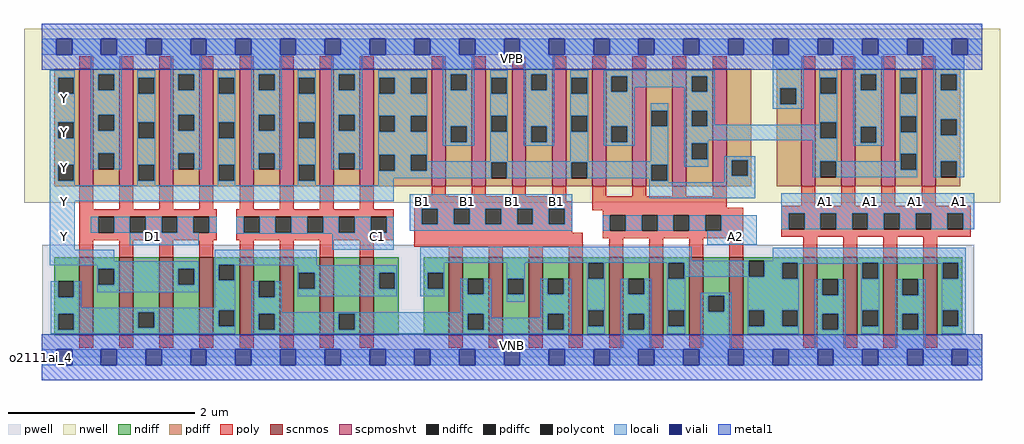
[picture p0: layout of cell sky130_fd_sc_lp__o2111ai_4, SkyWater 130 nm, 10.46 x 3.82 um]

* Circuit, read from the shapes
.subckt sky130_fd_sc_lp__o2111ai_4 A1 A2 B1 C1 D1 VGND VNB VPB VPWR Y
XM1 Y D1 n1 VNB sky130_fd_pr__nfet_01v8 w=0.84 l=0.15 m=4
XM2 n2 C1 n1 VNB sky130_fd_pr__nfet_01v8 w=0.84 l=0.15 m=4
XM3 n2 B1 n3 VNB sky130_fd_pr__nfet_01v8 w=0.84 l=0.15 m=4
XM4 VGND A2 n3 VNB sky130_fd_pr__nfet_01v8 w=0.84 l=0.15 m=4
XM5 VGND A1 n3 VNB sky130_fd_pr__nfet_01v8 w=0.84 l=0.15 m=4
XM6 VPWR D1 Y VPB sky130_fd_pr__pfet_01v8_hvt w=1.26 l=0.15 m=4
XM7 VPWR C1 Y VPB sky130_fd_pr__pfet_01v8_hvt w=1.26 l=0.15 m=4
XM8 VPWR B1 Y VPB sky130_fd_pr__pfet_01v8_hvt w=1.26 l=0.15 m=4
XM9 n4 A2 Y VPB sky130_fd_pr__pfet_01v8_hvt w=1.26 l=0.15 m=4
XM10 n4 A1 VPWR VPB sky130_fd_pr__pfet_01v8_hvt w=1.26 l=0.15 m=4
.ends

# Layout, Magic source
magic
tech sky130A
magscale 1 2
<< nwell >>
rect -38 331 2054 704
<< pwell >>
rect 1 49 1999 241
rect 0 0 2016 49
<< scnmos >>
rect 80 47 110 215
rect 166 47 196 215
rect 252 47 282 215
rect 338 47 368 215
rect 424 47 454 215
rect 510 47 540 215
rect 596 47 626 215
rect 682 47 712 215
rect 872 47 902 215
rect 958 47 988 215
rect 1044 47 1074 215
rect 1130 47 1160 215
rect 1216 47 1246 215
rect 1302 47 1332 215
rect 1388 47 1418 215
rect 1474 47 1504 215
rect 1632 47 1662 215
rect 1718 47 1748 215
rect 1804 47 1834 215
rect 1890 47 1920 215
<< scpmoshvt >>
rect 80 367 110 619
rect 166 367 196 619
rect 252 367 282 619
rect 338 367 368 619
rect 424 367 454 619
rect 510 367 540 619
rect 596 367 626 619
rect 682 367 712 619
rect 836 367 866 619
rect 922 367 952 619
rect 1008 367 1038 619
rect 1094 367 1124 619
rect 1180 367 1210 619
rect 1266 367 1296 619
rect 1352 367 1382 619
rect 1438 367 1468 619
rect 1628 367 1658 619
rect 1714 367 1744 619
rect 1800 367 1830 619
rect 1886 367 1916 619
<< ndiff >>
rect 27 163 80 215
rect 27 129 35 163
rect 69 129 80 163
rect 27 93 80 129
rect 27 59 35 93
rect 69 59 80 93
rect 27 47 80 59
rect 110 190 166 215
rect 110 156 121 190
rect 155 156 166 190
rect 110 47 166 156
rect 196 97 252 215
rect 196 63 207 97
rect 241 63 252 97
rect 196 47 252 63
rect 282 190 338 215
rect 282 156 293 190
rect 327 156 338 190
rect 282 47 338 156
rect 368 199 424 215
rect 368 165 379 199
rect 413 165 424 199
rect 368 101 424 165
rect 368 67 379 101
rect 413 67 424 101
rect 368 47 424 67
rect 454 163 510 215
rect 454 129 465 163
rect 499 129 510 163
rect 454 93 510 129
rect 454 59 465 93
rect 499 59 510 93
rect 454 47 510 59
rect 540 181 596 215
rect 540 147 551 181
rect 585 147 596 181
rect 540 47 596 147
rect 626 93 682 215
rect 626 59 637 93
rect 671 59 682 93
rect 626 47 682 59
rect 712 181 765 215
rect 712 147 723 181
rect 757 147 765 181
rect 712 47 765 147
rect 819 181 872 215
rect 819 147 827 181
rect 861 147 872 181
rect 819 47 872 147
rect 902 169 958 215
rect 902 135 913 169
rect 947 135 958 169
rect 902 93 958 135
rect 902 59 913 93
rect 947 59 958 93
rect 902 47 958 59
rect 988 169 1044 215
rect 988 135 999 169
rect 1033 135 1044 169
rect 988 47 1044 135
rect 1074 169 1130 215
rect 1074 135 1085 169
rect 1119 135 1130 169
rect 1074 93 1130 135
rect 1074 59 1085 93
rect 1119 59 1130 93
rect 1074 47 1130 59
rect 1160 203 1216 215
rect 1160 169 1171 203
rect 1205 169 1216 203
rect 1160 101 1216 169
rect 1160 67 1171 101
rect 1205 67 1216 101
rect 1160 47 1216 67
rect 1246 169 1302 215
rect 1246 135 1257 169
rect 1291 135 1302 169
rect 1246 93 1302 135
rect 1246 59 1257 93
rect 1291 59 1302 93
rect 1246 47 1302 59
rect 1332 203 1388 215
rect 1332 169 1343 203
rect 1377 169 1388 203
rect 1332 101 1388 169
rect 1332 67 1343 101
rect 1377 67 1388 101
rect 1332 47 1388 67
rect 1418 132 1474 215
rect 1418 98 1429 132
rect 1463 98 1474 132
rect 1418 47 1474 98
rect 1504 207 1632 215
rect 1504 173 1515 207
rect 1549 203 1632 207
rect 1549 173 1587 203
rect 1504 169 1587 173
rect 1621 169 1632 203
rect 1504 101 1632 169
rect 1504 67 1515 101
rect 1549 67 1587 101
rect 1621 67 1632 101
rect 1504 47 1632 67
rect 1662 167 1718 215
rect 1662 133 1673 167
rect 1707 133 1718 167
rect 1662 93 1718 133
rect 1662 59 1673 93
rect 1707 59 1718 93
rect 1662 47 1718 59
rect 1748 203 1804 215
rect 1748 169 1759 203
rect 1793 169 1804 203
rect 1748 101 1804 169
rect 1748 67 1759 101
rect 1793 67 1804 101
rect 1748 47 1804 67
rect 1834 167 1890 215
rect 1834 133 1845 167
rect 1879 133 1890 167
rect 1834 93 1890 133
rect 1834 59 1845 93
rect 1879 59 1890 93
rect 1834 47 1890 59
rect 1920 203 1973 215
rect 1920 169 1931 203
rect 1965 169 1973 203
rect 1920 101 1973 169
rect 1920 67 1931 101
rect 1965 67 1973 101
rect 1920 47 1973 67
<< pdiff >>
rect 27 599 80 619
rect 27 565 35 599
rect 69 565 80 599
rect 27 504 80 565
rect 27 470 35 504
rect 69 470 80 504
rect 27 413 80 470
rect 27 379 35 413
rect 69 379 80 413
rect 27 367 80 379
rect 110 607 166 619
rect 110 573 121 607
rect 155 573 166 607
rect 110 520 166 573
rect 110 486 121 520
rect 155 486 166 520
rect 110 437 166 486
rect 110 403 121 437
rect 155 403 166 437
rect 110 367 166 403
rect 196 599 252 619
rect 196 565 207 599
rect 241 565 252 599
rect 196 504 252 565
rect 196 470 207 504
rect 241 470 252 504
rect 196 413 252 470
rect 196 379 207 413
rect 241 379 252 413
rect 196 367 252 379
rect 282 607 338 619
rect 282 573 293 607
rect 327 573 338 607
rect 282 520 338 573
rect 282 486 293 520
rect 327 486 338 520
rect 282 437 338 486
rect 282 403 293 437
rect 327 403 338 437
rect 282 367 338 403
rect 368 599 424 619
rect 368 565 379 599
rect 413 565 424 599
rect 368 504 424 565
rect 368 470 379 504
rect 413 470 424 504
rect 368 413 424 470
rect 368 379 379 413
rect 413 379 424 413
rect 368 367 424 379
rect 454 607 510 619
rect 454 573 465 607
rect 499 573 510 607
rect 454 520 510 573
rect 454 486 465 520
rect 499 486 510 520
rect 454 437 510 486
rect 454 403 465 437
rect 499 403 510 437
rect 454 367 510 403
rect 540 599 596 619
rect 540 565 551 599
rect 585 565 596 599
rect 540 504 596 565
rect 540 470 551 504
rect 585 470 596 504
rect 540 413 596 470
rect 540 379 551 413
rect 585 379 596 413
rect 540 367 596 379
rect 626 607 682 619
rect 626 573 637 607
rect 671 573 682 607
rect 626 520 682 573
rect 626 486 637 520
rect 671 486 682 520
rect 626 437 682 486
rect 626 403 637 437
rect 671 403 682 437
rect 626 367 682 403
rect 712 599 836 619
rect 712 565 723 599
rect 757 565 791 599
rect 825 565 836 599
rect 712 518 836 565
rect 712 484 723 518
rect 757 484 791 518
rect 825 484 836 518
rect 712 434 836 484
rect 712 400 723 434
rect 757 400 791 434
rect 825 400 836 434
rect 712 367 836 400
rect 866 607 922 619
rect 866 573 877 607
rect 911 573 922 607
rect 866 495 922 573
rect 866 461 877 495
rect 911 461 922 495
rect 866 367 922 461
rect 952 599 1008 619
rect 952 565 963 599
rect 997 565 1008 599
rect 952 518 1008 565
rect 952 484 963 518
rect 997 484 1008 518
rect 952 418 1008 484
rect 952 384 963 418
rect 997 384 1008 418
rect 952 367 1008 384
rect 1038 607 1094 619
rect 1038 573 1049 607
rect 1083 573 1094 607
rect 1038 495 1094 573
rect 1038 461 1049 495
rect 1083 461 1094 495
rect 1038 367 1094 461
rect 1124 599 1180 619
rect 1124 565 1135 599
rect 1169 565 1180 599
rect 1124 518 1180 565
rect 1124 484 1135 518
rect 1169 484 1180 518
rect 1124 418 1180 484
rect 1124 384 1135 418
rect 1169 384 1180 418
rect 1124 367 1180 384
rect 1210 603 1266 619
rect 1210 569 1221 603
rect 1255 569 1266 603
rect 1210 495 1266 569
rect 1210 461 1221 495
rect 1255 461 1266 495
rect 1210 367 1266 461
rect 1296 529 1352 619
rect 1296 495 1307 529
rect 1341 495 1352 529
rect 1296 413 1352 495
rect 1296 379 1307 413
rect 1341 379 1352 413
rect 1296 367 1352 379
rect 1382 603 1438 619
rect 1382 569 1393 603
rect 1427 569 1438 603
rect 1382 529 1438 569
rect 1382 495 1393 529
rect 1427 495 1438 529
rect 1382 459 1438 495
rect 1382 425 1393 459
rect 1427 425 1438 459
rect 1382 367 1438 425
rect 1468 423 1521 619
rect 1468 389 1479 423
rect 1513 389 1521 423
rect 1468 367 1521 389
rect 1575 577 1628 619
rect 1575 543 1583 577
rect 1617 543 1628 577
rect 1575 367 1628 543
rect 1658 599 1714 619
rect 1658 565 1669 599
rect 1703 565 1714 599
rect 1658 504 1714 565
rect 1658 470 1669 504
rect 1703 470 1714 504
rect 1658 420 1714 470
rect 1658 386 1669 420
rect 1703 386 1714 420
rect 1658 367 1714 386
rect 1744 607 1800 619
rect 1744 573 1755 607
rect 1789 573 1800 607
rect 1744 494 1800 573
rect 1744 460 1755 494
rect 1789 460 1800 494
rect 1744 367 1800 460
rect 1830 599 1886 619
rect 1830 565 1841 599
rect 1875 565 1886 599
rect 1830 517 1886 565
rect 1830 483 1841 517
rect 1875 483 1886 517
rect 1830 436 1886 483
rect 1830 402 1841 436
rect 1875 402 1886 436
rect 1830 367 1886 402
rect 1916 607 1969 619
rect 1916 573 1927 607
rect 1961 573 1969 607
rect 1916 510 1969 573
rect 1916 476 1927 510
rect 1961 476 1969 510
rect 1916 420 1969 476
rect 1916 386 1927 420
rect 1961 386 1969 420
rect 1916 367 1969 386
<< ndiffc >>
rect 35 129 69 163
rect 35 59 69 93
rect 121 156 155 190
rect 207 63 241 97
rect 293 156 327 190
rect 379 165 413 199
rect 379 67 413 101
rect 465 129 499 163
rect 465 59 499 93
rect 551 147 585 181
rect 637 59 671 93
rect 723 147 757 181
rect 827 147 861 181
rect 913 135 947 169
rect 913 59 947 93
rect 999 135 1033 169
rect 1085 135 1119 169
rect 1085 59 1119 93
rect 1171 169 1205 203
rect 1171 67 1205 101
rect 1257 135 1291 169
rect 1257 59 1291 93
rect 1343 169 1377 203
rect 1343 67 1377 101
rect 1429 98 1463 132
rect 1515 173 1549 207
rect 1587 169 1621 203
rect 1515 67 1549 101
rect 1587 67 1621 101
rect 1673 133 1707 167
rect 1673 59 1707 93
rect 1759 169 1793 203
rect 1759 67 1793 101
rect 1845 133 1879 167
rect 1845 59 1879 93
rect 1931 169 1965 203
rect 1931 67 1965 101
<< pdiffc >>
rect 35 565 69 599
rect 35 470 69 504
rect 35 379 69 413
rect 121 573 155 607
rect 121 486 155 520
rect 121 403 155 437
rect 207 565 241 599
rect 207 470 241 504
rect 207 379 241 413
rect 293 573 327 607
rect 293 486 327 520
rect 293 403 327 437
rect 379 565 413 599
rect 379 470 413 504
rect 379 379 413 413
rect 465 573 499 607
rect 465 486 499 520
rect 465 403 499 437
rect 551 565 585 599
rect 551 470 585 504
rect 551 379 585 413
rect 637 573 671 607
rect 637 486 671 520
rect 637 403 671 437
rect 723 565 757 599
rect 791 565 825 599
rect 723 484 757 518
rect 791 484 825 518
rect 723 400 757 434
rect 791 400 825 434
rect 877 573 911 607
rect 877 461 911 495
rect 963 565 997 599
rect 963 484 997 518
rect 963 384 997 418
rect 1049 573 1083 607
rect 1049 461 1083 495
rect 1135 565 1169 599
rect 1135 484 1169 518
rect 1135 384 1169 418
rect 1221 569 1255 603
rect 1221 461 1255 495
rect 1307 495 1341 529
rect 1307 379 1341 413
rect 1393 569 1427 603
rect 1393 495 1427 529
rect 1393 425 1427 459
rect 1479 389 1513 423
rect 1583 543 1617 577
rect 1669 565 1703 599
rect 1669 470 1703 504
rect 1669 386 1703 420
rect 1755 573 1789 607
rect 1755 460 1789 494
rect 1841 565 1875 599
rect 1841 483 1875 517
rect 1841 402 1875 436
rect 1927 573 1961 607
rect 1927 476 1961 510
rect 1927 386 1961 420
<< poly >>
rect 80 619 110 645
rect 166 619 196 645
rect 252 619 282 645
rect 338 619 368 645
rect 424 619 454 645
rect 510 619 540 645
rect 596 619 626 645
rect 682 619 712 645
rect 836 619 866 645
rect 922 619 952 645
rect 1008 619 1038 645
rect 1094 619 1124 645
rect 1180 619 1210 645
rect 1266 619 1296 645
rect 1352 619 1382 645
rect 1438 619 1468 645
rect 1628 619 1658 645
rect 1714 619 1744 645
rect 1800 619 1830 645
rect 1886 619 1916 645
rect 80 317 110 367
rect 166 317 196 367
rect 252 317 282 367
rect 338 317 368 367
rect 424 317 454 367
rect 510 317 540 367
rect 596 317 626 367
rect 682 317 712 367
rect 836 346 866 367
rect 799 345 871 346
rect 922 345 952 367
rect 1008 345 1038 367
rect 1094 345 1124 367
rect 799 335 1124 345
rect 1180 345 1210 367
rect 1266 345 1296 367
rect 1352 345 1382 367
rect 1438 345 1468 367
rect 799 319 1137 335
rect 80 301 375 317
rect 80 267 121 301
rect 155 267 189 301
rect 223 267 257 301
rect 291 267 325 301
rect 359 267 375 301
rect 80 251 375 267
rect 417 301 755 317
rect 417 267 433 301
rect 467 267 501 301
rect 535 267 569 301
rect 603 267 637 301
rect 671 267 705 301
rect 739 267 755 301
rect 417 251 755 267
rect 799 285 815 319
rect 849 285 883 319
rect 917 285 951 319
rect 985 285 1019 319
rect 1053 285 1087 319
rect 1121 285 1137 319
rect 1180 321 1468 345
rect 1628 325 1658 367
rect 1714 325 1744 367
rect 1800 325 1830 367
rect 1886 325 1916 367
rect 1180 315 1504 321
rect 799 267 1137 285
rect 1202 305 1504 315
rect 1202 271 1218 305
rect 1252 271 1286 305
rect 1320 271 1354 305
rect 1388 271 1422 305
rect 1456 271 1504 305
rect 80 215 110 251
rect 166 215 196 251
rect 252 215 282 251
rect 338 215 368 251
rect 424 215 454 251
rect 510 215 540 251
rect 596 215 626 251
rect 682 215 712 251
rect 799 237 1160 267
rect 1202 255 1504 271
rect 1585 309 1991 325
rect 1585 275 1601 309
rect 1635 275 1669 309
rect 1703 275 1737 309
rect 1771 275 1805 309
rect 1839 275 1873 309
rect 1907 275 1941 309
rect 1975 275 1991 309
rect 1585 259 1991 275
rect 872 215 902 237
rect 958 215 988 237
rect 1044 215 1074 237
rect 1130 215 1160 237
rect 1216 215 1246 255
rect 1302 215 1332 255
rect 1388 215 1418 255
rect 1474 215 1504 255
rect 1632 215 1662 259
rect 1718 215 1748 259
rect 1804 215 1834 259
rect 1890 215 1920 259
rect 80 21 110 47
rect 166 21 196 47
rect 252 21 282 47
rect 338 21 368 47
rect 424 21 454 47
rect 510 21 540 47
rect 596 21 626 47
rect 682 21 712 47
rect 872 21 902 47
rect 958 21 988 47
rect 1044 21 1074 47
rect 1130 21 1160 47
rect 1216 21 1246 47
rect 1302 21 1332 47
rect 1388 21 1418 47
rect 1474 21 1504 47
rect 1632 21 1662 47
rect 1718 21 1748 47
rect 1804 21 1834 47
rect 1890 21 1920 47
<< polycont >>
rect 121 267 155 301
rect 189 267 223 301
rect 257 267 291 301
rect 325 267 359 301
rect 433 267 467 301
rect 501 267 535 301
rect 569 267 603 301
rect 637 267 671 301
rect 705 267 739 301
rect 815 285 849 319
rect 883 285 917 319
rect 951 285 985 319
rect 1019 285 1053 319
rect 1087 285 1121 319
rect 1218 271 1252 305
rect 1286 271 1320 305
rect 1354 271 1388 305
rect 1422 271 1456 305
rect 1601 275 1635 309
rect 1669 275 1703 309
rect 1737 275 1771 309
rect 1805 275 1839 309
rect 1873 275 1907 309
rect 1941 275 1975 309
<< locali >>
rect 0 649 31 683
rect 65 649 127 683
rect 161 649 223 683
rect 257 649 319 683
rect 353 649 415 683
rect 449 649 511 683
rect 545 649 607 683
rect 641 649 703 683
rect 737 649 799 683
rect 833 649 895 683
rect 929 649 991 683
rect 1025 649 1087 683
rect 1121 649 1183 683
rect 1217 649 1279 683
rect 1313 649 1375 683
rect 1409 649 1471 683
rect 1505 649 1567 683
rect 1601 649 1663 683
rect 1697 649 1759 683
rect 1793 649 1855 683
rect 1889 649 1951 683
rect 1985 649 2016 683
rect 17 599 71 615
rect 17 565 35 599
rect 69 565 71 599
rect 17 504 71 565
rect 17 470 35 504
rect 69 470 71 504
rect 17 413 71 470
rect 17 379 35 413
rect 69 379 71 413
rect 105 607 171 649
rect 105 573 121 607
rect 155 573 171 607
rect 105 520 171 573
rect 105 486 121 520
rect 155 486 171 520
rect 105 437 171 486
rect 105 403 121 437
rect 155 403 171 437
rect 205 599 243 615
rect 205 565 207 599
rect 241 565 243 599
rect 205 504 243 565
rect 205 470 207 504
rect 241 470 243 504
rect 205 413 243 470
rect 17 369 71 379
rect 205 379 207 413
rect 241 379 243 413
rect 277 607 343 649
rect 277 573 293 607
rect 327 573 343 607
rect 277 520 343 573
rect 277 486 293 520
rect 327 486 343 520
rect 277 437 343 486
rect 277 403 293 437
rect 327 403 343 437
rect 377 599 415 615
rect 377 565 379 599
rect 413 565 415 599
rect 377 504 415 565
rect 377 470 379 504
rect 413 470 415 504
rect 377 413 415 470
rect 205 369 243 379
rect 377 379 379 413
rect 413 379 415 413
rect 449 607 515 649
rect 449 573 465 607
rect 499 573 515 607
rect 449 520 515 573
rect 449 486 465 520
rect 499 486 515 520
rect 449 437 515 486
rect 449 403 465 437
rect 499 403 515 437
rect 549 599 587 615
rect 549 565 551 599
rect 585 565 587 599
rect 549 504 587 565
rect 549 470 551 504
rect 585 470 587 504
rect 549 413 587 470
rect 377 369 415 379
rect 549 379 551 413
rect 585 379 587 413
rect 621 607 687 649
rect 621 573 637 607
rect 671 573 687 607
rect 621 520 687 573
rect 621 486 637 520
rect 671 486 687 520
rect 621 437 687 486
rect 621 403 637 437
rect 671 403 687 437
rect 721 599 826 615
rect 721 565 723 599
rect 757 565 791 599
rect 825 565 826 599
rect 721 518 826 565
rect 721 484 723 518
rect 757 484 791 518
rect 825 484 826 518
rect 721 434 826 484
rect 860 607 927 649
rect 860 573 877 607
rect 911 573 927 607
rect 860 495 927 573
rect 860 461 877 495
rect 911 461 927 495
rect 860 454 927 461
rect 961 599 999 615
rect 961 565 963 599
rect 997 565 999 599
rect 961 518 999 565
rect 961 484 963 518
rect 997 484 999 518
rect 549 369 587 379
rect 721 400 723 434
rect 757 400 791 434
rect 825 420 826 434
rect 961 420 999 484
rect 1033 607 1099 649
rect 1033 573 1049 607
rect 1083 573 1099 607
rect 1033 495 1099 573
rect 1033 461 1049 495
rect 1083 461 1099 495
rect 1033 454 1099 461
rect 1133 599 1171 615
rect 1133 565 1135 599
rect 1169 565 1171 599
rect 1133 518 1171 565
rect 1133 484 1135 518
rect 1169 484 1171 518
rect 1133 420 1171 484
rect 1205 603 1443 615
rect 1205 569 1221 603
rect 1255 579 1393 603
rect 1255 569 1271 579
rect 1205 495 1271 569
rect 1377 569 1393 579
rect 1427 569 1443 603
rect 1205 461 1221 495
rect 1255 461 1271 495
rect 1205 454 1271 461
rect 1305 529 1343 545
rect 1305 495 1307 529
rect 1341 495 1343 529
rect 1305 420 1343 495
rect 825 418 1343 420
rect 825 400 963 418
rect 721 384 963 400
rect 997 384 1135 418
rect 1169 413 1343 418
rect 1169 384 1307 413
rect 721 369 755 384
rect 17 335 755 369
rect 1302 379 1307 384
rect 1341 379 1343 413
rect 1377 529 1443 569
rect 1567 577 1633 649
rect 1567 543 1583 577
rect 1617 543 1633 577
rect 1567 533 1633 543
rect 1667 599 1705 615
rect 1667 565 1669 599
rect 1703 565 1705 599
rect 1377 495 1393 529
rect 1427 499 1443 529
rect 1667 504 1705 565
rect 1667 499 1669 504
rect 1427 495 1669 499
rect 1377 470 1669 495
rect 1703 470 1705 504
rect 1377 465 1705 470
rect 1377 459 1429 465
rect 1377 425 1393 459
rect 1427 425 1429 459
rect 1377 409 1429 425
rect 1463 423 1529 431
rect 1302 375 1343 379
rect 1463 389 1479 423
rect 1513 389 1529 423
rect 1463 375 1529 389
rect 1653 420 1705 465
rect 1739 607 1805 649
rect 1739 573 1755 607
rect 1789 573 1805 607
rect 1739 494 1805 573
rect 1739 460 1755 494
rect 1789 460 1805 494
rect 1739 454 1805 460
rect 1839 599 1877 615
rect 1839 565 1841 599
rect 1875 565 1877 599
rect 1839 517 1877 565
rect 1839 483 1841 517
rect 1875 483 1877 517
rect 1839 436 1877 483
rect 1839 420 1841 436
rect 1653 386 1669 420
rect 1703 402 1841 420
rect 1875 402 1877 436
rect 1703 386 1877 402
rect 1911 607 1977 649
rect 1911 573 1927 607
rect 1961 573 1977 607
rect 1911 510 1977 573
rect 1911 476 1927 510
rect 1961 476 1977 510
rect 1911 420 1977 476
rect 1911 386 1927 420
rect 1961 386 1977 420
rect 17 231 71 335
rect 789 319 1137 350
rect 1302 341 1529 375
rect 105 267 121 301
rect 155 267 189 301
rect 223 267 257 301
rect 291 267 325 301
rect 359 267 375 301
rect 417 267 433 301
rect 467 267 501 301
rect 535 267 569 301
rect 603 267 637 301
rect 671 267 705 301
rect 739 267 755 301
rect 789 285 815 319
rect 849 285 883 319
rect 917 285 951 319
rect 985 285 1019 319
rect 1053 285 1087 319
rect 1121 285 1137 319
rect 1585 309 1999 352
rect 789 271 1137 285
rect 1202 271 1218 305
rect 1252 271 1286 305
rect 1320 271 1354 305
rect 1388 271 1422 305
rect 1456 271 1533 305
rect 1585 275 1601 309
rect 1635 275 1669 309
rect 1703 275 1737 309
rect 1771 275 1805 309
rect 1839 275 1873 309
rect 1907 275 1941 309
rect 1975 275 1999 309
rect 189 240 337 267
rect 417 265 755 267
rect 623 231 755 265
rect 1427 241 1533 271
rect 17 206 155 231
rect 17 197 337 206
rect 119 190 337 197
rect 19 129 35 163
rect 69 129 85 163
rect 119 156 121 190
rect 155 156 293 190
rect 327 156 337 190
rect 119 140 337 156
rect 371 199 589 231
rect 371 165 379 199
rect 413 197 589 199
rect 811 207 1393 237
rect 1567 207 1981 235
rect 811 203 1515 207
rect 413 165 415 197
rect 19 106 85 129
rect 371 106 415 165
rect 549 181 761 197
rect 19 101 415 106
rect 19 97 379 101
rect 19 93 207 97
rect 19 59 35 93
rect 69 63 207 93
rect 241 67 379 97
rect 413 67 415 101
rect 241 63 415 67
rect 69 59 415 63
rect 19 51 415 59
rect 449 129 465 163
rect 499 129 515 163
rect 549 147 551 181
rect 585 147 723 181
rect 757 147 761 181
rect 549 131 761 147
rect 811 181 863 203
rect 811 147 827 181
rect 861 147 863 181
rect 997 169 1035 203
rect 1169 169 1171 203
rect 1205 169 1207 203
rect 1341 169 1343 203
rect 1377 173 1515 203
rect 1549 203 1981 207
rect 1549 173 1587 203
rect 1377 169 1379 173
rect 811 131 863 147
rect 897 135 913 169
rect 947 135 963 169
rect 449 97 515 129
rect 897 97 963 135
rect 997 135 999 169
rect 1033 135 1035 169
rect 997 119 1035 135
rect 1069 135 1085 169
rect 1119 135 1135 169
rect 449 93 963 97
rect 449 59 465 93
rect 499 59 637 93
rect 671 59 913 93
rect 947 85 963 93
rect 1069 93 1135 135
rect 1069 85 1085 93
rect 947 59 1085 85
rect 1119 59 1135 93
rect 449 51 1135 59
rect 1169 101 1207 169
rect 1169 67 1171 101
rect 1205 67 1207 101
rect 1169 51 1207 67
rect 1241 135 1257 169
rect 1291 135 1307 169
rect 1241 93 1307 135
rect 1241 59 1257 93
rect 1291 59 1307 93
rect 1241 17 1307 59
rect 1341 101 1379 169
rect 1513 169 1587 173
rect 1621 201 1759 203
rect 1621 169 1623 201
rect 1341 67 1343 101
rect 1377 67 1379 101
rect 1341 51 1379 67
rect 1413 132 1479 139
rect 1413 98 1429 132
rect 1463 98 1479 132
rect 1413 17 1479 98
rect 1513 101 1623 169
rect 1757 169 1759 201
rect 1793 201 1931 203
rect 1793 169 1795 201
rect 1513 67 1515 101
rect 1549 67 1587 101
rect 1621 67 1623 101
rect 1513 51 1623 67
rect 1657 133 1673 167
rect 1707 133 1723 167
rect 1657 93 1723 133
rect 1657 59 1673 93
rect 1707 59 1723 93
rect 1657 17 1723 59
rect 1757 101 1795 169
rect 1929 169 1931 201
rect 1965 169 1981 203
rect 1757 67 1759 101
rect 1793 67 1795 101
rect 1757 51 1795 67
rect 1829 133 1845 167
rect 1879 133 1895 167
rect 1829 93 1895 133
rect 1829 59 1845 93
rect 1879 59 1895 93
rect 1829 17 1895 59
rect 1929 101 1981 169
rect 1929 67 1931 101
rect 1965 67 1981 101
rect 1929 51 1981 67
rect 0 -17 31 17
rect 65 -17 127 17
rect 161 -17 223 17
rect 257 -17 319 17
rect 353 -17 415 17
rect 449 -17 511 17
rect 545 -17 607 17
rect 641 -17 703 17
rect 737 -17 799 17
rect 833 -17 895 17
rect 929 -17 991 17
rect 1025 -17 1087 17
rect 1121 -17 1183 17
rect 1217 -17 1279 17
rect 1313 -17 1375 17
rect 1409 -17 1471 17
rect 1505 -17 1567 17
rect 1601 -17 1663 17
rect 1697 -17 1759 17
rect 1793 -17 1855 17
rect 1889 -17 1951 17
rect 1985 -17 2016 17
<< viali >>
rect 31 649 65 683
rect 127 649 161 683
rect 223 649 257 683
rect 319 649 353 683
rect 415 649 449 683
rect 511 649 545 683
rect 607 649 641 683
rect 703 649 737 683
rect 799 649 833 683
rect 895 649 929 683
rect 991 649 1025 683
rect 1087 649 1121 683
rect 1183 649 1217 683
rect 1279 649 1313 683
rect 1375 649 1409 683
rect 1471 649 1505 683
rect 1567 649 1601 683
rect 1663 649 1697 683
rect 1759 649 1793 683
rect 1855 649 1889 683
rect 1951 649 1985 683
rect 31 -17 65 17
rect 127 -17 161 17
rect 223 -17 257 17
rect 319 -17 353 17
rect 415 -17 449 17
rect 511 -17 545 17
rect 607 -17 641 17
rect 703 -17 737 17
rect 799 -17 833 17
rect 895 -17 929 17
rect 991 -17 1025 17
rect 1087 -17 1121 17
rect 1183 -17 1217 17
rect 1279 -17 1313 17
rect 1375 -17 1409 17
rect 1471 -17 1505 17
rect 1567 -17 1601 17
rect 1663 -17 1697 17
rect 1759 -17 1793 17
rect 1855 -17 1889 17
rect 1951 -17 1985 17
<< metal1 >>
rect 0 683 2016 715
rect 0 649 31 683
rect 65 649 127 683
rect 161 649 223 683
rect 257 649 319 683
rect 353 649 415 683
rect 449 649 511 683
rect 545 649 607 683
rect 641 649 703 683
rect 737 649 799 683
rect 833 649 895 683
rect 929 649 991 683
rect 1025 649 1087 683
rect 1121 649 1183 683
rect 1217 649 1279 683
rect 1313 649 1375 683
rect 1409 649 1471 683
rect 1505 649 1567 683
rect 1601 649 1663 683
rect 1697 649 1759 683
rect 1793 649 1855 683
rect 1889 649 1951 683
rect 1985 649 2016 683
rect 0 617 2016 649
rect 0 17 2016 49
rect 0 -17 31 17
rect 65 -17 127 17
rect 161 -17 223 17
rect 257 -17 319 17
rect 353 -17 415 17
rect 449 -17 511 17
rect 545 -17 607 17
rect 641 -17 703 17
rect 737 -17 799 17
rect 833 -17 895 17
rect 929 -17 991 17
rect 1025 -17 1087 17
rect 1121 -17 1183 17
rect 1217 -17 1279 17
rect 1313 -17 1375 17
rect 1409 -17 1471 17
rect 1505 -17 1567 17
rect 1601 -17 1663 17
rect 1697 -17 1759 17
rect 1793 -17 1855 17
rect 1889 -17 1951 17
rect 1985 -17 2016 17
rect 0 -49 2016 -17
<< labels >>
flabel pwell s 0 0 2016 49 0 FreeSans 200 0 0 0 VNB
port 7 nsew ground bidirectional
flabel nwell s 0 617 2016 666 0 FreeSans 200 0 0 0 VPB
port 8 nsew power bidirectional
rlabel comment s 0 0 0 0 4 o2111ai_4
flabel metal1 s 0 617 2016 666 0 FreeSans 340 0 0 0 VPWR
port 9 nsew power bidirectional
flabel metal1 s 0 0 2016 49 0 FreeSans 340 0 0 0 VGND
port 6 nsew ground bidirectional
flabel locali s 31 242 65 276 0 FreeSans 340 0 0 0 Y
port 10 nsew signal output
flabel locali s 31 316 65 350 0 FreeSans 340 0 0 0 Y
port 10 nsew signal output
flabel locali s 31 390 65 424 0 FreeSans 340 0 0 0 Y
port 10 nsew signal output
flabel locali s 31 464 65 498 0 FreeSans 340 0 0 0 Y
port 10 nsew signal output
flabel locali s 31 538 65 572 0 FreeSans 340 0 0 0 Y
port 10 nsew signal output
flabel locali s 1663 316 1697 350 0 FreeSans 340 0 0 0 A1
port 1 nsew signal input
flabel locali s 1759 316 1793 350 0 FreeSans 340 0 0 0 A1
port 1 nsew signal input
flabel locali s 1855 316 1889 350 0 FreeSans 340 0 0 0 A1
port 1 nsew signal input
flabel locali s 1951 316 1985 350 0 FreeSans 340 0 0 0 A1
port 1 nsew signal input
flabel locali s 1471 242 1505 276 0 FreeSans 340 0 0 0 A2
port 2 nsew signal input
flabel locali s 799 316 833 350 0 FreeSans 340 0 0 0 B1
port 3 nsew signal input
flabel locali s 895 316 929 350 0 FreeSans 340 0 0 0 B1
port 3 nsew signal input
flabel locali s 991 316 1025 350 0 FreeSans 340 0 0 0 B1
port 3 nsew signal input
flabel locali s 1087 316 1121 350 0 FreeSans 340 0 0 0 B1
port 3 nsew signal input
flabel locali s 703 242 737 276 0 FreeSans 340 0 0 0 C1
port 4 nsew signal input
flabel locali s 223 242 257 276 0 FreeSans 340 0 0 0 D1
port 5 nsew signal input
<< properties >>
string LEFsite unit
string LEFclass CORE
string FIXED_BBOX 0 0 2016 666
string GDS_FILE $PDKPATH/libs.ref/sky130_fd_sc_lp/gds/sky130_fd_sc_lp.gds
string LEFsymmetry X Y R90
string GDS_END 4727608
string GDS_START 4710040
<< end >>
